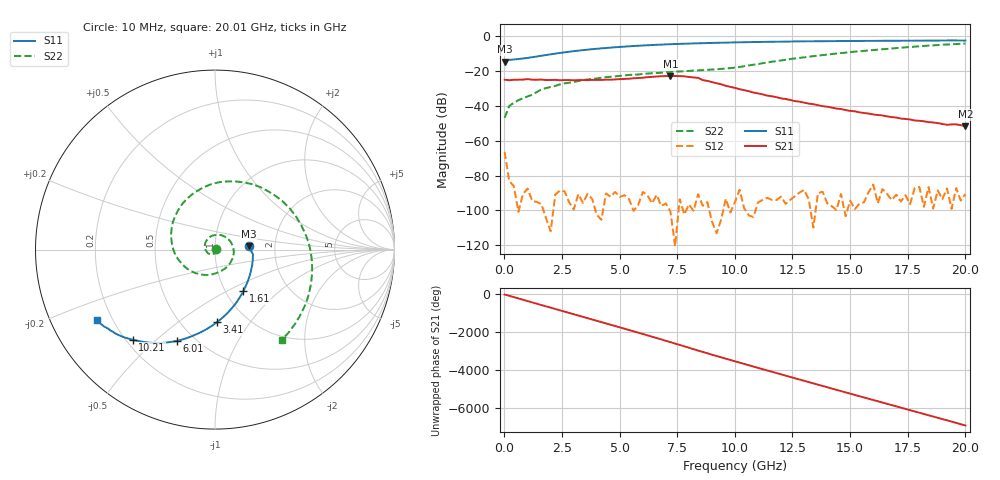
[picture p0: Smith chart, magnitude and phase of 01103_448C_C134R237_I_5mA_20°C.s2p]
!;Filter: kein Filter
!auto
!3/21/2019 9:27:39 AM
!3/21/2019 9:27:53 AM
!SP-Measurements Prober G4
!SP-Measurements Prober G4
!134
!237
!12
!20
!-20
!0.00499992
!1.96
!0.64375220
!0.64375220
# Hz S  RI  R 50
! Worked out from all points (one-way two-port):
!   101 points, 10 MHz to 20.01 GHz, reference 50 ohm
!   highest |S21| = -22.68 dB at 7.21 GHz (marker M1); lowest = -51.6 dB at 20.01 GHz (marker M2)
!   lowest |S11| = -14.5 dB at 10 MHz (marker M3), VSWR 1.47, Z = 73.1 + j2.64 ohm
!   |S11| at or under -10 dB: start of sweep to 2.131 GHz
!   |S22| runs from -46.7 to -4.1 dB; largest |S21 - S12| = 0.073
!   S11 on the Smith chart (normalised r, x): 10 MHz: 1.46, +0.05; 1.61 GHz: 1.21, -0.61; 3.41 GHz: 0.73, -0.71; 6.01 GHz: 0.40, -0.59; 10.21 GHz: 0.23, -0.42; 20.01 GHz: 0.14, -0.27
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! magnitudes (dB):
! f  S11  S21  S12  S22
! 10 MHz  -14.5  -24.8  -66.3  -46.7
! 210 MHz  -13.4  -25.1  -83.0  -40.0
! 610 MHz  -12.9  -24.8  -100.8  -36.6
! 1.21 GHz  -11.9  -24.8  -94.5  -33.5
! 1.61 GHz  -11.1  -24.8  -96.4  -30.4
! 2.61 GHz  -9.1  -25.0  -89.0  -26.9
! 3.41 GHz  -7.8  -25.0  -95.6  -25.1
! 4.81 GHz  -6.2  -24.7  -89.3  -22.9
! 6.01 GHz  -5.2  -23.7  -89.3  -21.5
! 6.81 GHz  -4.7  -22.9  -97.4  -20.8
! 7.21 GHz  -4.4  -22.7  -100.7  -20.4
! 8.41 GHz  -3.9  -23.8  -90.6  -19.4
! 8.61 GHz  -3.8  -25.1  -97.3  -19.3
! 10.01 GHz  -3.4  -29.5  -95.2  -17.9
! 10.21 GHz  -3.4  -30.3  -88.1  -17.5
! 11.41 GHz  -3.1  -34.0  -92.7  -14.9
! 13.41 GHz  -2.8  -38.9  -109.8  -11.3
! 15.01 GHz  -2.6  -42.8  -94.4  -9.0
! 16.81 GHz  -2.5  -46.3  -94.0  -6.9
! 19.21 GHz  -2.3  -50.7  -87.3  -4.6
! 19.61 GHz  -2.3  -50.5  -87.1  -4.3
! 20.01 GHz  -2.3  -51.6  -90.5  -4.1
